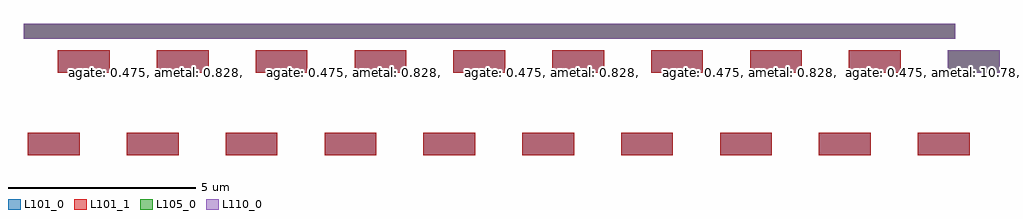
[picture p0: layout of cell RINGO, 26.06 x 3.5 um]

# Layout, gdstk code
import gdstk
lib = gdstk.Library(unit=1e-6, precision=1e-09)
def R(c, l, rs):  # rectangles x0, y0, x1, y1
    for r in rs: c.add(gdstk.rectangle(r[:2], r[2:], *l))
def A(c, l, x, y, w, h, nx, ny, dx, dy):  # array of equal rectangles
    R(c, l, [(x+i*dx, y+j*dy, x+i*dx+w, y+j*dy+h) for i in range(nx) for j in range(ny)])
L101_0 = (101, 0)
L101_1 = (101, 1)
L105_0 = (105, 0)
L110_0 = (110, 0)

trans = lib.new_cell('TRANS')

inv2 = lib.new_cell('INV2')
R(inv2, L101_0, [(-1.6,-1.5,-0.22,-0.9)])
R(inv2, L101_1, [(-1.6,-1.5,-0.22,-0.9)])
inv2.add(gdstk.Reference(trans, (-0.4,0)))
inv2.add(gdstk.Reference(trans, (-0.4,2.8)))
inv2.add(gdstk.Reference(trans, (0.4,0), x_reflection=True))
inv2.add(gdstk.Reference(trans, (0.4,2.8), x_reflection=True))
inv2.add(gdstk.Label('agate: 0.475, ametal: 0.828, ratio: 1.74315789473684, max_ratio: 1', (-1.6,-1.5), layer=101, texttype=10))

ringo = lib.new_cell('RINGO')
A(ringo, L101_0, -0.8, 0.7, 1.38, 0.6, 10, 1, 2.64, 0)
R(ringo, L101_0, [(-1.72,1.6,23.16,2)])
A(ringo, L101_1, -0.8, 0.7, 1.38, 0.6, 10, 1, 2.64, 0)
R(ringo, L101_1, [(-1.72,1.6,23.16,2)])
R(ringo, L105_0, [(22.96,0.7,24.34,1.3), (-1.72,1.6,23.16,2)])
R(ringo, L110_0, [(22.96,0.7,24.34,1.3), (-1.72,1.6,23.16,2)])
ringo.add(gdstk.Reference(inv2, (0,0)))
ringo.add(gdstk.Reference(inv2, (2.64,0)))
ringo.add(gdstk.Reference(inv2, (5.28,0)))
ringo.add(gdstk.Reference(inv2, (7.92,0)))
ringo.add(gdstk.Reference(inv2, (10.56,0)))
ringo.add(gdstk.Reference(inv2, (13.2,0)))
ringo.add(gdstk.Reference(inv2, (15.84,0)))
ringo.add(gdstk.Reference(inv2, (18.48,0)))
ringo.add(gdstk.Reference(inv2, (21.12,0)))
ringo.add(gdstk.Reference(inv2, (23.76,0)))
ringo.add(gdstk.Label('agate: 0.475, ametal: 10.78, ratio: 22.6947368421053, max_ratio: 1', (22.96,0.7), layer=101, texttype=10))
ringo.add(gdstk.Label('agate: 0.475, ametal: 0.828, ratio: 1.74315789473684, max_ratio: 1', (20.32,0.7), layer=101, texttype=10))
ringo.add(gdstk.Label('agate: 0.475, ametal: 0.828, ratio: 1.74315789473684, max_ratio: 1', (17.68,0.7), layer=101, texttype=10))
ringo.add(gdstk.Label('agate: 0.475, ametal: 0.828, ratio: 1.74315789473684, max_ratio: 1', (15.04,0.7), layer=101, texttype=10))
ringo.add(gdstk.Label('agate: 0.475, ametal: 0.828, ratio: 1.74315789473684, max_ratio: 1', (12.4,0.7), layer=101, texttype=10))
ringo.add(gdstk.Label('agate: 0.475, ametal: 0.828, ratio: 1.74315789473684, max_ratio: 1', (9.76,0.7), layer=101, texttype=10))
ringo.add(gdstk.Label('agate: 0.475, ametal: 0.828, ratio: 1.74315789473684, max_ratio: 1', (7.12,0.7), layer=101, texttype=10))
ringo.add(gdstk.Label('agate: 0.475, ametal: 0.828, ratio: 1.74315789473684, max_ratio: 1', (4.48,0.7), layer=101, texttype=10))
ringo.add(gdstk.Label('agate: 0.475, ametal: 0.828, ratio: 1.74315789473684, max_ratio: 1', (1.84,0.7), layer=101, texttype=10))
ringo.add(gdstk.Label('agate: 0.475, ametal: 0.828, ratio: 1.74315789473684, max_ratio: 1', (-0.8,0.7), layer=101, texttype=10))

lib.write_gds('RINGO.gds')
